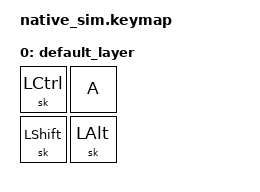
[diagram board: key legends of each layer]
#include <dt-bindings/zmk/keys.h>
#include <behaviors.dtsi>
#include <dt-bindings/zmk/kscan_mock.h>

/* this test ensures that lazy sticky keys don't emit anything on timeout */

&sk {
    lazy;
    release-after-ms = <50>;
};

/ {
    keymap {
        compatible = "zmk,keymap";

        default_layer {
            bindings = <&sk LEFT_CONTROL &kp A
                        &sk LEFT_SHIFT &sk LEFT_ALT>;
        };
    };
};

&kscan {
    events = <
              /* tap sk LEFT_CONTROL */
              ZMK_MOCK_PRESS(0,0,10)
              ZMK_MOCK_RELEASE(0,0,10)
              /* tap sk LEFT_SHIFT */
              ZMK_MOCK_PRESS(1,0,10)
              ZMK_MOCK_RELEASE(1,0,60)
              /* tap sk LEFT_ALT */
              ZMK_MOCK_PRESS(1,1,10)
              ZMK_MOCK_RELEASE(1,1,60)
              /* tap A */
              ZMK_MOCK_PRESS(0,1,10)
              ZMK_MOCK_RELEASE(0,1,10)
              /* tap A */
              ZMK_MOCK_PRESS(0,1,10)
              ZMK_MOCK_RELEASE(0,1,10)>;
};
